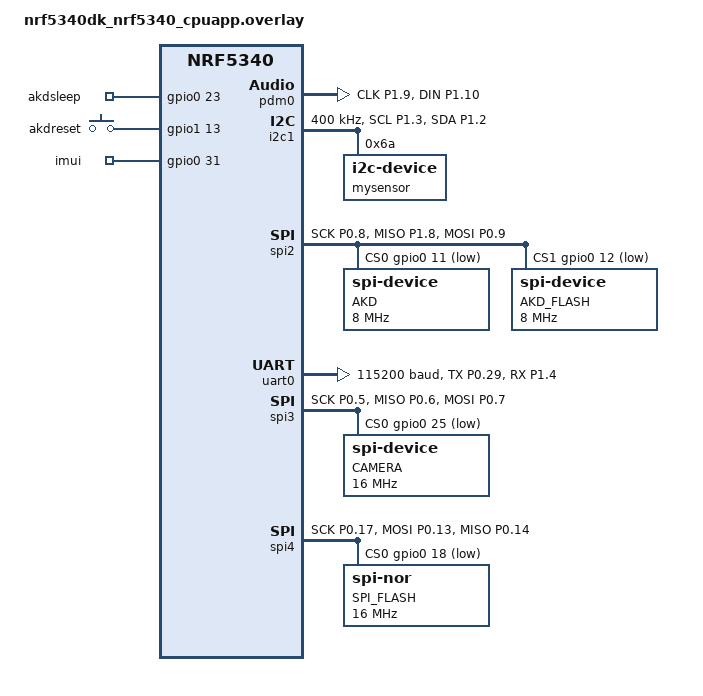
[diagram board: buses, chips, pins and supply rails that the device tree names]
&qspi {
    status = "disabled";
};
/* Disable default LEDs */
&led0 {
    status = "disabled";
};

&led1 {
    status = "disabled";
};

&led2 {
    status = "disabled";
};

&led3 {
    status = "disabled";
};

/* Disable default buttons */
&button0 {
    status = "disabled";
};

&button1 {
    status = "disabled";
};

&button2 {
    status = "disabled";
};

&button3 {
    status = "disabled";
};
&gpio_fwd {
    status = "disabled";
};

&pwm0 {
    status = "disabled";
};

/* Disable the entire gpio-keys and leds nodes if needed */
/ {
    buttons {
        status = "disabled";
    };
    
    leds {
        status = "disabled";
    };
};
&pinctrl {
    spi2_default: spi2_default {
        group1 {
            psels = <NRF_PSEL(SPIM_SCK, 0, 8)>,
                    <NRF_PSEL(SPIM_MISO, 1, 8)>,  /* Use P1.08 for MISO on DK board since P0.10 used on custom board is not available */
                    <NRF_PSEL(SPIM_MOSI, 0, 9)>;
        };
    };

    spi2_sleep: spi2_sleep {
        group1 {
            psels = <NRF_PSEL(SPIM_SCK, 0, 8)>,
                    <NRF_PSEL(SPIM_MISO, 1, 8)>,
                    <NRF_PSEL(SPIM_MOSI, 0, 9)>;
            low-power-enable;
        };
    };

	uart0_default_alt: uart0_default_alt {
      group1 {
         psels = <NRF_PSEL(UART_TX, 0, 29)>,
                 <NRF_PSEL(UART_RX, 1, 4)>;
      };
   };

   uart0_sleep_alt: uart0_sleep_alt {
      group1 {
         psels = <NRF_PSEL(UART_TX, 0, 29)>,
                 <NRF_PSEL(UART_RX, 1, 4)>;
         low-power-enable;
      };
   };	

   pdm0_default_alt: pdm0_default_alt {
		group1 {
			psels = <NRF_PSEL(PDM_CLK, 1, 9)>,
				    <NRF_PSEL(PDM_DIN, 1, 10)>;
		};
	};

    /omit-if-no-ref/ i2c1_default: i2c1_default {
		group1  {
			psels = <NRF_PSEL(TWIM_SCL, 1, 3)>,
					<NRF_PSEL(TWIM_SDA, 1, 2)>;
		};
	};

	/omit-if-no-ref/ i2c1_sleep: i2c1_sleep {
		group1  {
			psels = <NRF_PSEL(TWIM_SCL, 1, 3)>,
					<NRF_PSEL(TWIM_SDA, 1, 2)>;
			low-power-enable;
		};
	};
/* Use alternate SPI pins for camera on nRF5340 DK because P0.17/P0.13/P0.14 are occupied by onboard external flash */
    spi3_default: spi3_default {
		group1 {
				psels = <NRF_PSEL(SPIM_SCK, 0, 5)>,
                        <NRF_PSEL(SPIM_MISO, 0, 6)>,
                        <NRF_PSEL(SPIM_MOSI, 0, 7)>;
		};
	};

	spi3_sleep: spi3_sleep {
		group1 {
				psels = <NRF_PSEL(SPIM_SCK, 0, 5)>,
                        <NRF_PSEL(SPIM_MISO, 0, 6)>,
                        <NRF_PSEL(SPIM_MOSI, 0, 7)>;
				low-power-enable;
		};
	};
/* SPI pins for external flash */
    spi4_default: spi4_default {
		group1 {
				psels = <NRF_PSEL(SPIM_SCK, 0, 17)>,
						<NRF_PSEL(SPIM_MOSI, 0, 13)>,
						<NRF_PSEL(SPIM_MISO, 0, 14)>;
		};
	};

	spi4_sleep: spi4_sleep {
		group1 {
				psels = <NRF_PSEL(SPIM_SCK, 0, 17)>,
						<NRF_PSEL(SPIM_MOSI, 0, 13)>,
						<NRF_PSEL(SPIM_MISO, 0, 14)>;
				low-power-enable;
		};
	};
	
};

/* PDM mic configurations */

&clock {
	hfclkaudio-frequency = <12288000>;
};

&pdm0 {
	status = "okay";
	clock-source = "ACLK";
};

dmic_dev: &pdm0 {
	status = "okay";
	pinctrl-0 = <&pdm0_default_alt>;
	pinctrl-names = "default";
	clock-source = "ACLK";
   
};
/ {
    chosen {
        nordic,pm-ext-flash = &ext_flash;
    };
};

&i2c1 {
    status = "okay";
    clock-frequency = <I2C_BITRATE_FAST>;   // 400 kHz
    pinctrl-0 = <&i2c1_default>;
	pinctrl-1 = <&i2c1_sleep>;
    pinctrl-names = "default", "sleep";
    mysensor: mysensor@6a{
        compatible = "i2c-device";
        status = "okay";
        reg = < 0x6a >;
    };
};


&ipc0 {
    status = "okay";
};


&spi2 {
    compatible = "nordic,nrf-spim";
    status = "okay";
    pinctrl-0 = <&spi2_default>;
    pinctrl-1 = <&spi2_sleep>;
    pinctrl-names = "default", "sleep";
    cs-gpios = <&gpio0 11 GPIO_ACTIVE_LOW>,  /* CS for AKIDA */
               <&gpio0 12 GPIO_ACTIVE_LOW>;  /* CS for AKIDA flash (CS pin for AKIDA flash changed to pin p0.12 according to schematic)*/

    /* camera device at index 0 */
    akd: akd@0 {
        compatible = "spi-device";
        reg = <0>;  /* Uses first CS pin (P0.11) */
        spi-max-frequency = <8000000>;
        label = "AKD";
    };

    /* W25Q128 Flash device at index 1 */
    akd_flash: akd_flash@1 {
        compatible = "spi-device";  /* Use spi-device for manual control */
        reg = <1>;  /* Uses second CS pin (P0.12) */
        spi-max-frequency = <8000000>;
        label = "AKD_FLASH";
    };
};

&uart0 {
   status = "okay";
   compatible = "nordic,nrf-uarte";
   current-speed = <115200>;
   pinctrl-0 = <&uart0_default_alt>;
   pinctrl-1 = <&uart0_sleep_alt>;
   pinctrl-names = "default", "sleep";
};

&spi3 {
    compatible = "nordic,nrf-spim";
    status = "okay";
    pinctrl-0 = <&spi3_default>;
    pinctrl-1 = <&spi3_sleep>;
    pinctrl-names = "default", "sleep";
    cs-gpios = <&gpio0 25 GPIO_ACTIVE_LOW>; /*CS for camera*/
    /* camera device at index 0 */
    camera: camera@0 {
        compatible = "spi-device";
        reg = <0>;  /* Uses first CS pin (P0.25) */
        spi-max-frequency = <16000000>;
        label = "CAMERA";
    };
};
&spi4 {
    compatible = "nordic,nrf-spim";
    status = "okay";
    pinctrl-0 = <&spi4_default>;
    pinctrl-1 = <&spi4_sleep>;
    pinctrl-names = "default", "sleep";
    cs-gpios = <&gpio0 18 GPIO_ACTIVE_LOW>;  /* CS for NRF flash */

    /* NRF Flash device at index 0 */
    ext_flash: flash@0 {
        compatible = "jedec,spi-nor";
        reg = <0>;
        spi-max-frequency = <16000000>;
        label = "SPI_FLASH";

        /* REQUIRED properties */
        size = <DT_SIZE_M(64)>; /* 8MB example */
        jedec-id = [c2 28 17]; /* example JEDEC ID */
    };
};
/ {
    aliases {
        watchdog = &wdt;
    };
};

/ {
    gpios {
		compatible = "gpio-keys";
		akdsleep: akdsleep {
			gpios = <&gpio0 23 GPIO_ACTIVE_HIGH>;
		};

        akdreset: akdreset {
			gpios = <&gpio1 13 GPIO_ACTIVE_HIGH>;
		};
	
        imui: imui {
			gpios = <&gpio0 31 GPIO_ACTIVE_HIGH>;
		};		
		
	};

    leds {
        compatible = "gpio-leds";

        led_red: led_red {
            gpios = <&gpio0 28 GPIO_ACTIVE_HIGH>;
        };

        led_green: led_green {
            gpios = <&gpio0 27 GPIO_ACTIVE_HIGH>;
        };
    };

    aliases {
        akdsleep = &akdsleep;
        akdreset = &akdreset;
        spi2 = &spi2;
        imui = &imui;
    };
};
